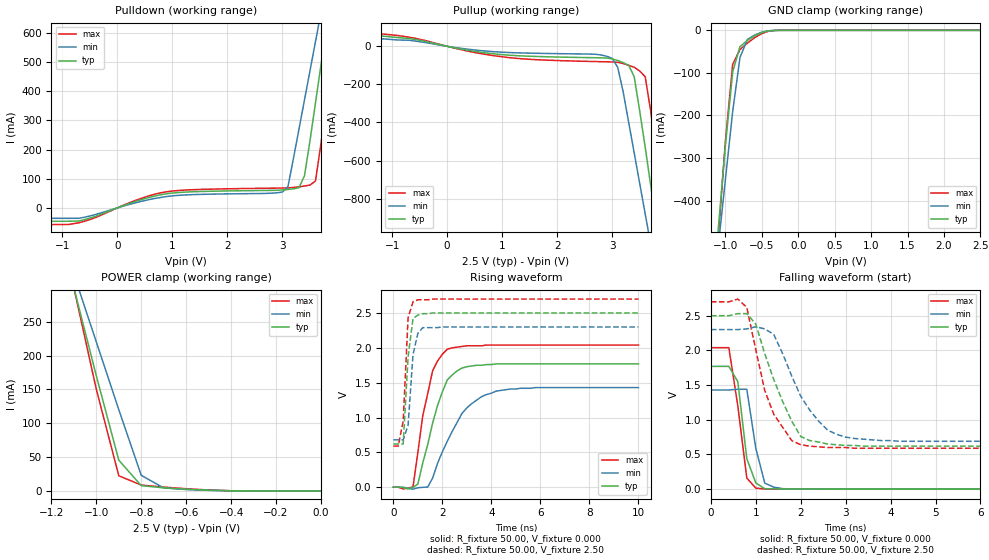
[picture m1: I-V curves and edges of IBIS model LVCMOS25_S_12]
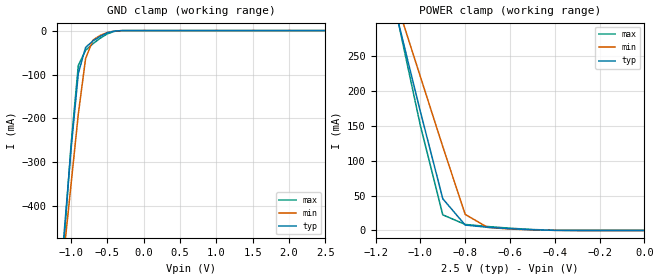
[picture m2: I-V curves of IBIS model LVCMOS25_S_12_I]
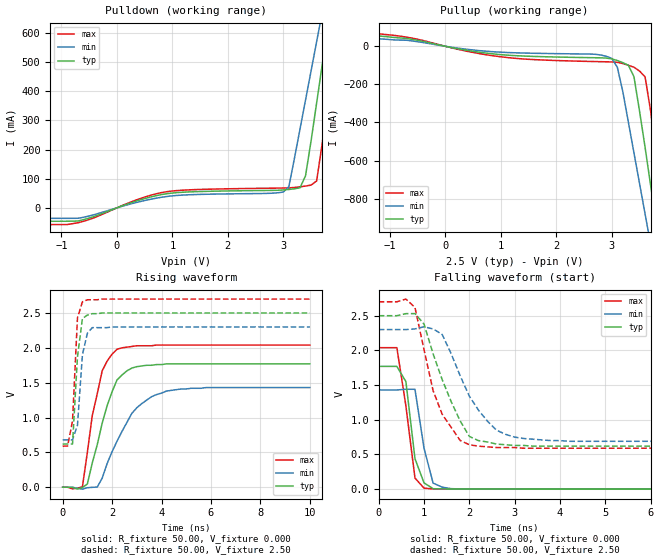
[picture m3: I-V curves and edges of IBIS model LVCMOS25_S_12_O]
| / 7\'7
| \ \   Xilinx Inc.
| / /
| \_\/.\   IBIS Models for Spartan-3E
[IBIS ver]   3.2
[File name]   Mux_Disp_LED.ibs
[File Rev]   1.5
[Date]   Wed Oct 18 12:49:55 2017
[Source]   HSPICE simulations
[Notes]   IBIS models for Spartan-3E
[Disclaimer]
|   The data in this model is derived from SPICE simulations using
|   modeling information extracted from the target process. While
|   a great deal of care has been taken to provide information
|   that is accurate, this model is considered preliminary as it
|   has not been verified by actual silicon measurement. Treat the
|   data in this model as preliminary until actual silicon
|   verification is performed.
|   To accurately model package parasitics, please follow the
|   instructions at:  http://www.xilinx.com/xlnx/
|   xil_ans_display.jsp?getPagePath=11754
|   LVDS and LVPECL drivers require the use of external
|   termination resistors to provide the correct voltage levels.
|   For more information, refer to the Spartan-3 documentation.
|   NOTE: This file is compliant with IBIS Version 3.2, but it
|   may not implement all approved 3.2 features.
|   NOTE:  Newer versions of the buffer models may be available.
|   Check the web (http://www.xilinx.com/support/sw_ibis.htm) for
|   the latest file revision.  However, please be aware that the
|   web files are not compatible for use with IBISWriter, and
|   must be manually annotated, should their use be preferred.
[Copyright]
| Copyright 2006, Xilinx Inc., All rights reserved
|   Component Spartan-3E
[Component]   Spartan-3E
[Manufacturer]   Xilinx Inc.
[Package]
| For Package Type cp132
| variable   typ   min   max
R_pkg   144.23m   125.40m   183.10m
L_pkg   2.43nH   1.67nH   3.43nH
C_pkg   0.45pF   0.32pF   0.60pF
[Pin]  signal_name   model_name   R_pin   L_pin   C_pin
F12   Anode<0>   LVCMOS25_S_12_O
J12   Anode<1>   LVCMOS25_S_12_O
M13   Anode<2>   LVCMOS25_S_12_O
K14   Anode<3>   LVCMOS25_S_12_O
P11   A<0>   LVCMOS25_S_12_I
L3   A<1>   LVCMOS25_S_12_I
K3   A<2>   LVCMOS25_S_12_I
B4   A<3>   LVCMOS25_S_12_I
G3   B<0>   LVCMOS25_S_12_I
F3   B<1>   LVCMOS25_S_12_I
E2   B<2>   LVCMOS25_S_12_I
N3   B<3>   LVCMOS25_S_12_I
M5   LED<0>   LVCMOS25_S_12_O
G12   Sel   LVCMOS25_S_12_I
M11   LED<1>   LVCMOS25_S_12_O
P7   LED<2>   LVCMOS25_S_12_O
M12   Seg<0>   LVCMOS25_S_12_O
P6   LED<3>   LVCMOS25_S_12_O
L13   Seg<1>   LVCMOS25_S_12_O
P12   Seg<2>   LVCMOS25_S_12_O
N11   Seg<3>   LVCMOS25_S_12_O
N14   Seg<4>   LVCMOS25_S_12_O
H12   Seg<5>   LVCMOS25_S_12_O
L14   Seg<6>   LVCMOS25_S_12_O
A1   PROG_B   LVCMOS25_S_12
B2   IO_L01P_3   NC
B1   IO_L01N_3   NC
C3   IO_L02P_3   NC
C2   IO_L02N_3   NC
D3   VCCINT   POWER
D2   IO   NC
E3   GND   GND
E1   VCCO_3   POWER
F2   LHCLK1   NC
F1   LHCLK2   NC
G1   LHCLK3/IRDY2   NC
G2   GND   GND
H1   LHCLK5   NC
H2   LHCLK6   NC
H3   LHCLK7   NC
J1   GND   GND
J2   VCCO_3   POWER
J3   IO   NC
K1   VCCAUX   POWER
L1   IO_L08P_3   NC
L2   IO_L08N_3   NC
M1   IO_L09N_3   NC
M2   CSO_B   LVCMOS25_S_12
N1   INIT_B   LVCMOS25_S_12
P1   DOUT/BUSY   NC
N2   MOSI/CSI_B   LVCMOS25_S_12
P2   VCCINT   POWER
M3   GND   GND
P3   VCCO_2   POWER
M4   D7/GCLK12   LVCMOS25_S_12
N4   D6/GCLK13   LVCMOS25_S_12
P4   D5   LVCMOS25_S_12
N5   D3/GCLK15   LVCMOS25_S_12
P5   GND   GND
M6   RDWR_B/GCLK0   LVCMOS25_S_12
N6   M2/GCLK1   LVCMOS25_S_12
N7   M1   LVCMOS25_S_12
M7   GND   GND
P8   M0   LVCMOS25_S_12
N8   DIN/D0   LVCMOS25_S_12
M8   VCCO_2   POWER
P9   VCCAUX   POWER
N12   CCLK   LVCMOS25_S_12
P13   DONE   LVCMOS25_S_12
P14   GND   GND
N13   A16   LVCMOS25_S_12
M14   VCCO_1   POWER
L12   VCCINT   POWER
K12   GND   GND
K13   IO/VREF_1   NC
J13   A8/RHCLK2   LVCMOS25_S_12
J14   A7/RHCLK3/TRDY1   LVCMOS25_S_12
H14   GND   GND
H13   A6/RHCLK4/IRDY1   LVCMOS25_S_12
G14   A4/RHCLK6   LVCMOS25_S_12
G13   A3/RHCLK7   LVCMOS25_S_12
F14   A2   LVCMOS25_S_12
F13   A1   LVCMOS25_S_12
E14   GND   GND
E13   VCCO_1   POWER
E12   VCCAUX   POWER
D13   HDC   LVCMOS25_S_12
D12   LDC0   LVCMOS25_S_12
C14   LDC1   LVCMOS25_S_12
C13   LDC2   LVCMOS25_S_12
B14   TMS   LVCMOS25_S_12
A14   TDO   LVCMOS25_S_12
B13   TCK   LVCMOS25_S_12
A13   IO_L01P_0   NC
C12   IO_L01N_0   NC
C11   IP   NC
A11   VCCINT   POWER
C10   GND   GND
B10   VCCO_0   POWER
A10   GCLK4   NC
C9   GCLK5   NC
B9   GCLK6   NC
A9   GCLK7   NC
A8   GND   GND
B8   GCLK8   NC
C8   GCLK9   NC
A7   GCLK10   NC
B7   GCLK11   NC
C7   GND   GND
B6   IO_L08P_0   NC
C6   IO_L08N_0/VREF_0   NC
A5   VCCAUX   POWER
A6   VCCO_0   POWER
B5   IO_L09P_0   NC
C5   IO_L09N_0   NC
A3   IO_L11P_0   NC
B3   HSWAP   LVCMOS25_S_12
A2   TDI   LVCMOS25_S_12
| Models and submodels in the file (3): LVCMOS25_S_12 (I/O), LVCMOS25_S_12_I (Input), LVCMOS25_S_12_O (Output)
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|   Model LVCMOS25_S_12
[Model]   LVCMOS25_S_12
Model_type   I/O
Polarity   Non-Inverting
Enable   Active-Low
Vinl =   0.70V
Vinh =   1.70V
Vmeas =   1.25V
Cref =  0.000F
Rref =  1MOhm
Vref =  0.000V
C_comp   1.50pF   1.30pF   1.70pF
[Temperature Range]   25.00   85.00   0.000
[Voltage Range]   2.50V   2.30V   2.70V
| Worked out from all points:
|   slope of the pulldown table from 0 to 0.375 V, typ, clamps not added: 15.1 ohm
|   slope of the pullup table from 0 to 0.375 V, typ, clamps not added: 18.1 ohm
|   GND clamp passes 1 mA (typ) near -0.40 V on its own axis
|   POWER clamp passes 1 mA (typ) near -0.50 V on its own axis
|   rising waveform, R_fixture 50.00, V_fixture 0.000: 20-80 % time 851ps typ, 1.26ns min, 614ps max; typ from 0 V to 1.77 V
|   rising waveform, R_fixture 50.00, V_fixture 2.50: 20-80 % time 232ps typ, 226ps min, 171ps max; typ from 0.62 V to 2.5 V
|   falling waveform, R_fixture 50.00, V_fixture 0.000: 20-80 % time 225ps typ, 251ps min, 255ps max; typ from 1.77 V to 0 V
|   falling waveform, R_fixture 50.00, V_fixture 2.50: 20-80 % time 670ps typ, 789ps min, 559ps max; typ from 2.5 V to 0.62 V
[Pulldown]
| voltage   I(typ)   I(min)   I(max)
-2.5V     -45.98mA   -35.9mA    -57.32mA
-900mV    -45.98mA   -35.9mA    -57.32mA
900mV     48.52mA    38.96mA    55.38mA
3V        61.37mA    54.24mA    68.01mA
3.1V      63.12mA    73.01mA    68.54mA
3.3V      68.84mA    270mA      72.06mA
3.4V      110mA      370mA      74.78mA
3.5V      230mA      470mA      78.11mA
3.6V      360mA      570mA      92.25mA
3.8V      620mA      770mA      370mA
4V        880mA      970mA      660mA
5V        2.18A      1.98A      2.14A
[Pullup]
| voltage   I(typ)   I(min)   I(max)
-2.5V     72mA       55mA       87mA
-900mV    45.71mA    33.1mA     56.74mA
1.1V      -46.15mA   -32.5mA    -58.58mA
2.8V      -60.59mA   -45.67mA   -80.85mA
3.1V      -74.77mA   -110mA     -84.17mA
3.2V      -85.87mA   -240mA     -90.52mA
3.4V      -160mA     -560mA     -110mA
3.6V      -530mA     -880mA     -160mA
3.7V      -730mA     -1.04A     -340mA
3.8V      -920mA     -1.2A      -580mA
4V        -1.31A     -1.52A     -1.04A
5V        -3.26A     -3.13A     -3.39A
[GND_clamp]
| voltage   I(typ)   I(min)   I(max)
-2.5V     -3.19A     -2.76A     -3.77A
-1.1V     -470mA     -510mA     -490mA
-1V       -270mA     -350mA     -260mA
-900mV    -97.22mA   -190mA     -79.28mA
-800mV    -38.27mA   -63.6mA    -44.92mA
-700mV    -23.77mA   -21.82mA   -30.15mA
-600mV    -13.05mA   -10.93mA   -17.48mA
-500mV    -5.01mA    -4.37mA    -7.42mA
-400mV    -940uA     -990uA     -1.6mA
-300mV    -78.43uA   -120uA     -130uA
2.5V      11.7nA     2.25uA     11.13nA
[POWER_clamp]
| voltage   I(typ)   I(min)   I(max)
-2.5V     2.1A       1.72A      2.35A
-1.1V     300mA      320mA      300mA
-1V       170mA      220mA      150mA
-900mV    45.39mA    120mA      22.39mA
-800mV    7.78mA     23.01mA    8.63mA
-700mV    4.56mA     4.41mA     5.65mA
-600mV    2.55mA     2.06mA     3.26mA
-400mV    200uA      200uA      300uA
0V        11.7nA     65.87nA    13.21nA
[Ramp]
dV/dt_r   1.06/0.80n   0.86/1.33n   1.22/0.56n
dV/dt_f   1.13/0.61n   0.97/0.78n   1.27/0.50n
R_load = 50.00
[Rising Waveform]
R_fixture = 50.00
V_fixture = 0.000
| time   V(typ)   V(min)   V(max)
0s        0V         0V         0V
800ps     -4.14mV    -27.72mV   5.08mV
1ns       46.62mV    -7.11mV    500mV
1.2ns     350mV      -1.57mV    1.03V
1.4ns     610mV      2.59mV     1.34V
1.6ns     920mV      130mV      1.67V
2.2ns     1.54V      660mV      1.98V
3ns       1.73V      1.14V      2.03V
4.2ns     1.77V      1.38V      2.04V
10ns      1.77V      1.43V      2.04V
[Rising Waveform]
R_fixture = 50.00
V_fixture = 2.50
V_fixture_min = 2.30
V_fixture_max = 2.70
| time   V(typ)   V(min)   V(max)
0s        620mV      680mV      590mV
200ps     620mV      680mV      590mV
400ps     620mV      680mV      950mV
600ps     1.87V      890mV      2.43V
800ps     2.42V      1.9V       2.66V
1ns       2.47V      2.21V      2.69V
1.2ns     2.49V      2.29V      2.69V
1.6ns     2.5V       2.29V      2.7V
2ns       2.5V       2.3V       2.7V
10ns      2.5V       2.3V       2.7V
[Falling Waveform]
R_fixture = 50.00
V_fixture = 0.000
| time   V(typ)   V(min)   V(max)
0s        1.77V      1.43V      2.04V
400ps     1.77V      1.43V      2.04V
600ps     1.55V      1.44V      1.2V
800ps     440mV      1.44V      160mV
1ns       90.24mV    590mV      15.1mV
1.2ns     6.64mV     87.43mV    2.58mV
1.4ns     3.92mV     29.03mV    2.66mV
1.6ns     2.4mV      7.15mV     1.89mV
10ns      21.58uV    6.88uV     -670nV
[Falling Waveform]
R_fixture = 50.00
V_fixture = 2.50
V_fixture_min = 2.30
V_fixture_max = 2.70
| time   V(typ)   V(min)   V(max)
0s        2.5V       2.3V       2.7V
600ps     2.53V      2.3V       2.74V
800ps     2.53V      2.31V      2.62V
1ns       2.38V      2.34V      2.01V
1.2ns     1.95V      2.31V      1.42V
1.4ns     1.58V      2.23V      1.08V
2ns       760mV      1.34V      640mV
2.6ns     650mV      850mV      600mV
3.2ns     630mV      730mV      590mV
10ns      620mV      680mV      590mV
|   Model LVCMOS25_S_12_I
[Model]   LVCMOS25_S_12_I
Model_type   Input
Polarity   Non-Inverting
Vinl =   0.70V
Vinh =   1.70V
C_comp   1.50pF   1.30pF   1.70pF
[Temperature Range]   25.00   85.00   0.000
[Voltage Range]   2.50V   2.30V   2.70V
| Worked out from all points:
|   GND clamp passes 1 mA (typ) near -0.40 V on its own axis
|   POWER clamp passes 1 mA (typ) near -0.50 V on its own axis
[GND_clamp]
| voltage   I(typ)   I(min)   I(max)
-2.5V     -3.19A     -2.76A     -3.77A
-1.1V     -470mA     -510mA     -490mA
-1V       -270mA     -350mA     -260mA
-900mV    -97.22mA   -190mA     -79.28mA
-800mV    -38.27mA   -63.6mA    -44.92mA
-700mV    -23.77mA   -21.82mA   -30.15mA
-600mV    -13.05mA   -10.93mA   -17.48mA
-500mV    -5.01mA    -4.37mA    -7.42mA
-400mV    -940uA     -990uA     -1.6mA
-300mV    -78.43uA   -120uA     -130uA
2.5V      11.7nA     2.25uA     11.13nA
[POWER_clamp]
| voltage   I(typ)   I(min)   I(max)
-2.5V     2.1A       1.72A      2.35A
-1.1V     300mA      320mA      300mA
-1V       170mA      220mA      150mA
-900mV    45.39mA    120mA      22.39mA
-800mV    7.78mA     23.01mA    8.63mA
-700mV    4.56mA     4.41mA     5.65mA
-600mV    2.55mA     2.06mA     3.26mA
-400mV    200uA      200uA      300uA
0V        11.7nA     65.87nA    13.21nA
|   Model LVCMOS25_S_12_O
[Model]   LVCMOS25_S_12_O
Model_type   Output
Polarity   Non-Inverting
Enable   Active-Low
Vmeas =   1.25V
Cref =  0.000F
Rref =  1MOhm
Vref =  0.000V
C_comp   1.50pF   1.30pF   1.70pF
[Temperature Range]   25.00   85.00   0.000
[Voltage Range]   2.50V   2.30V   2.70V
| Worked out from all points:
|   slope of the pulldown table from 0 to 0.375 V, typ, clamps not added: 15.1 ohm
|   slope of the pullup table from 0 to 0.375 V, typ, clamps not added: 18.1 ohm
|   rising waveform, R_fixture 50.00, V_fixture 0.000: 20-80 % time 851ps typ, 1.26ns min, 614ps max; typ from 0 V to 1.77 V
|   rising waveform, R_fixture 50.00, V_fixture 2.50: 20-80 % time 232ps typ, 226ps min, 171ps max; typ from 0.62 V to 2.5 V
|   falling waveform, R_fixture 50.00, V_fixture 0.000: 20-80 % time 225ps typ, 251ps min, 255ps max; typ from 1.77 V to 0 V
|   falling waveform, R_fixture 50.00, V_fixture 2.50: 20-80 % time 670ps typ, 789ps min, 559ps max; typ from 2.5 V to 0.62 V
[Pulldown]
| voltage   I(typ)   I(min)   I(max)
-2.5V     -45.98mA   -35.9mA    -57.32mA
-900mV    -45.98mA   -35.9mA    -57.32mA
900mV     48.52mA    38.96mA    55.38mA
3V        61.37mA    54.24mA    68.01mA
3.1V      63.12mA    73.01mA    68.54mA
3.3V      68.84mA    270mA      72.06mA
3.4V      110mA      370mA      74.78mA
3.5V      230mA      470mA      78.11mA
3.6V      360mA      570mA      92.25mA
3.8V      620mA      770mA      370mA
4V        880mA      970mA      660mA
5V        2.18A      1.98A      2.14A
[Pullup]
| voltage   I(typ)   I(min)   I(max)
-2.5V     72mA       55mA       87mA
-900mV    45.71mA    33.1mA     56.74mA
1.1V      -46.15mA   -32.5mA    -58.58mA
2.8V      -60.59mA   -45.67mA   -80.85mA
3.1V      -74.77mA   -110mA     -84.17mA
3.2V      -85.87mA   -240mA     -90.52mA
3.4V      -160mA     -560mA     -110mA
3.6V      -530mA     -880mA     -160mA
3.7V      -730mA     -1.04A     -340mA
3.8V      -920mA     -1.2A      -580mA
4V        -1.31A     -1.52A     -1.04A
5V        -3.26A     -3.13A     -3.39A
[Ramp]
dV/dt_r   1.06/0.80n   0.86/1.33n   1.22/0.56n
dV/dt_f   1.13/0.61n   0.97/0.78n   1.27/0.50n
R_load = 50.00
[Rising Waveform]
R_fixture = 50.00
V_fixture = 0.000
| time   V(typ)   V(min)   V(max)
0s        0V         0V         0V
800ps     -4.14mV    -27.72mV   5.08mV
1ns       46.62mV    -7.11mV    500mV
1.2ns     350mV      -1.57mV    1.03V
1.4ns     610mV      2.59mV     1.34V
1.6ns     920mV      130mV      1.67V
2.2ns     1.54V      660mV      1.98V
3ns       1.73V      1.14V      2.03V
4.2ns     1.77V      1.38V      2.04V
10ns      1.77V      1.43V      2.04V
[Rising Waveform]
R_fixture = 50.00
V_fixture = 2.50
V_fixture_min = 2.30
V_fixture_max = 2.70
| time   V(typ)   V(min)   V(max)
0s        620mV      680mV      590mV
200ps     620mV      680mV      590mV
400ps     620mV      680mV      950mV
600ps     1.87V      890mV      2.43V
800ps     2.42V      1.9V       2.66V
1ns       2.47V      2.21V      2.69V
1.2ns     2.49V      2.29V      2.69V
1.6ns     2.5V       2.29V      2.7V
2ns       2.5V       2.3V       2.7V
10ns      2.5V       2.3V       2.7V
[Falling Waveform]
R_fixture = 50.00
V_fixture = 0.000
| time   V(typ)   V(min)   V(max)
0s        1.77V      1.43V      2.04V
400ps     1.77V      1.43V      2.04V
600ps     1.55V      1.44V      1.2V
800ps     440mV      1.44V      160mV
1ns       90.24mV    590mV      15.1mV
1.2ns     6.64mV     87.43mV    2.58mV
1.4ns     3.92mV     29.03mV    2.66mV
1.6ns     2.4mV      7.15mV     1.89mV
10ns      21.58uV    6.88uV     -670nV
[Falling Waveform]
R_fixture = 50.00
V_fixture = 2.50
V_fixture_min = 2.30
V_fixture_max = 2.70
| time   V(typ)   V(min)   V(max)
0s        2.5V       2.3V       2.7V
600ps     2.53V      2.3V       2.74V
800ps     2.53V      2.31V      2.62V
1ns       2.38V      2.34V      2.01V
1.2ns     1.95V      2.31V      1.42V
1.4ns     1.58V      2.23V      1.08V
2ns       760mV      1.34V      640mV
2.6ns     650mV      850mV      600mV
3.2ns     630mV      730mV      590mV
10ns      620mV      680mV      590mV
